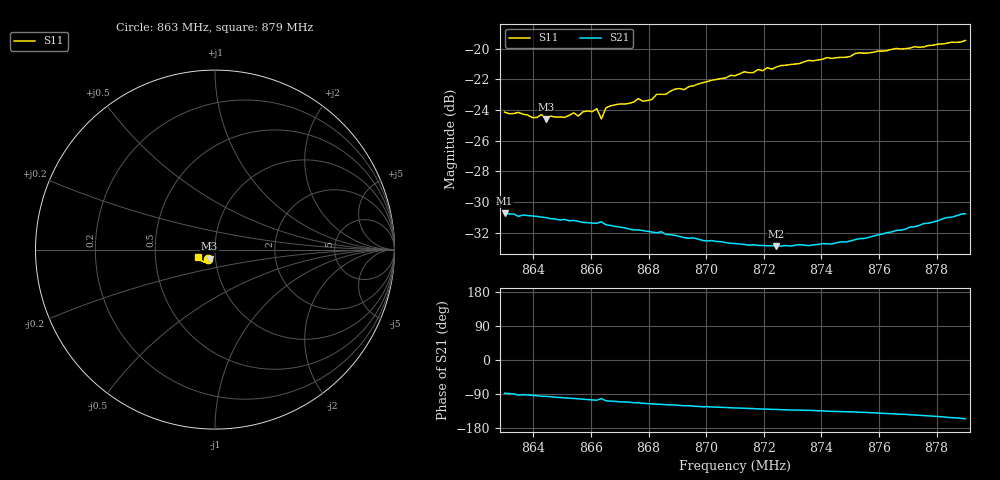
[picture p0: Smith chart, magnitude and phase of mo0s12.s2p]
# HZ S RI R 50
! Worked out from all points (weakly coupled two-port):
!   101 points, 863 MHz to 879 MHz, reference 50 ohm
!   highest |S21| = -30.74 dB at 863 MHz (marker M1); lowest = -32.9 dB at 872.44 MHz (marker M2)
!   lowest |S11| = -24.6 dB at 864.44 MHz (marker M3), VSWR 1.13, Z = 46.8 - j4.74 ohm
!   |S11| at or under -10 dB: start of sweep to end of sweep
!   S12 and S22 are empty: the file has one direction only
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8.63e8  -0.0365 -0.0502  0.00121 -0.029  0 0  0 0
8.6348e8  -0.035 -0.0511  -0.00138 -0.0284  0 0  0 0
8.6396e8  -0.0319 -0.0503  -0.00155 -0.0284  0 0  0 0
8.6428e8  -0.0309 -0.0526  -0.00276 -0.0281  0 0  0 0
8.6444e8  -0.0303 -0.0505  -0.00294 -0.028  0 0  0 0
8.6508e8  -0.0289 -0.0522  -0.00475 -0.0274  0 0  0 0
8.654e8  -0.0295 -0.0543  -0.0055 -0.027  0 0  0 0
8.6556e8  -0.0283 -0.0532  -0.00583 -0.0267  0 0  0 0
8.6572e8  -0.0281 -0.0555  -0.00631 -0.0264  0 0  0 0
8.662e8  -0.0295 -0.0565  -0.00748 -0.0259  0 0  0 0
8.6636e8  -0.0225 -0.0545  -0.0055 -0.0267  0 0  0 0
8.6652e8  -0.0292 -0.057  -0.00817 -0.0254  0 0  0 0
8.6668e8  -0.0284 -0.0586  -0.00841 -0.0252  0 0  0 0
8.6764e8  -0.0313 -0.0611  -0.0101 -0.0236  0 0  0 0
8.6796e8  -0.0307 -0.0604  -0.0108 -0.023  0 0  0 0
8.6844e8  -0.0316 -0.0635  -0.0115 -0.0225  0 0  0 0
8.71e8  -0.0437 -0.0688  -0.0138 -0.0186  0 0  0 0
8.7244e8  -0.0526 -0.0694  -0.0147 -0.0173  0 0  0 0
8.7372e8  -0.0599 -0.0688  -0.0157 -0.0167  0 0  0 0
8.7484e8  -0.0674 -0.065  -0.017 -0.0161  0 0  0 0
8.7644e8  -0.0803 -0.0586  -0.0199 -0.0156  0 0  0 0
8.79e8  -0.0972 -0.043  -0.0262 -0.0123  0 0  0 0
